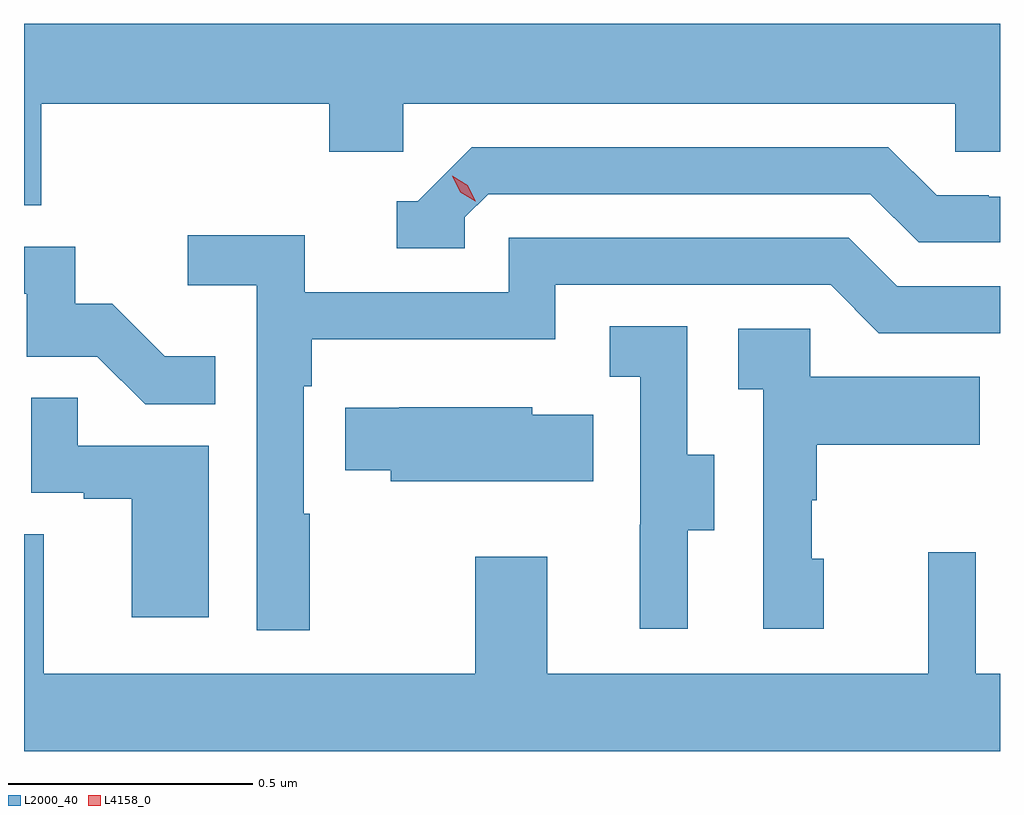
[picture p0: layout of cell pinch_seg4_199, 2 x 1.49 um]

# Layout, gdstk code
import gdstk
lib = gdstk.Library(unit=1e-6, precision=1e-09)
def P(c, l, *ps):  # polygons
    for p in ps: c.add(gdstk.Polygon(p, *l))
L2000_40 = (2000, 40)
L4158_0 = (4158, 0)

pinch_seg4_199 = lib.new_cell('pinch_seg4_199')
P(pinch_seg4_199, L2000_40, [(957.698,818.132),(958.289,818.132),(958.289,818.034),(958.44,818.034),(958.44,818.132),(959.571,818.132),(959.571,818.034),(959.663,818.034),(959.663,818.296),(957.663,818.296),(957.663,817.924),(957.698,817.924)],
  [(958.566,817.899),(958.614,817.947),(959.397,817.947),(959.496,817.848),(959.663,817.848),(959.663,817.941),(959.64,817.941),(959.64,817.944),(959.533,817.944),(959.434,818.043),(958.581,818.043),(958.47,817.932),(958.427,817.932),(958.427,817.836),(958.566,817.836)],
  [(958.249,817.292),(958.236,817.292),(958.236,817.553),(958.253,817.553),(958.253,817.649),(958.752,817.649),(958.752,817.761),(959.316,817.761),(959.415,817.662),(959.663,817.662),(959.663,817.758),(959.452,817.758),(959.353,817.857),(958.656,817.857),(958.656,817.746),(958.238,817.746),(958.238,817.862),(957.999,817.862),(957.999,817.76),(958.14,817.76),(958.14,817.053),(958.249,817.053)],
  [(958.055,817.615),(957.951,817.615),(957.844,817.722),(957.768,817.722),(957.768,817.839),(957.663,817.839),(957.663,817.743),(957.669,817.743),(957.669,817.614),(957.813,817.614),(957.911,817.516),(958.055,817.516)],
  [(959.023,817.258),(959.077,817.258),(959.077,817.413),(959.022,817.413),(959.022,817.676),(958.863,817.676),(958.863,817.573),(958.926,817.573),(958.926,817.269),(958.925,817.269),(958.925,817.056),(959.023,817.056)],
  [(959.302,817.2),(959.277,817.2),(959.277,817.319),(959.287,817.319),(959.287,817.433),(959.621,817.433),(959.621,817.573),(959.274,817.573),(959.274,817.671),(959.127,817.671),(959.127,817.547),(959.178,817.547),(959.178,817.056),(959.302,817.056)],
  [(958.042,817.431),(957.773,817.431),(957.773,817.529),(957.678,817.529),(957.678,817.335),(957.785,817.335),(957.785,817.323),(957.884,817.323),(957.884,817.08),(958.042,817.08)],
  [(958.829,817.495),(958.704,817.495),(958.704,817.51),(958.432,817.51),(958.432,817.509),(958.321,817.509),(958.321,817.381),(958.415,817.381),(958.415,817.358),(958.829,817.358)],
  [(959.663,816.964),(959.613,816.964),(959.613,817.213),(959.516,817.213),(959.516,816.964),(958.735,816.964),(958.735,817.204),(958.588,817.204),(958.588,816.964),(957.703,816.964),(957.703,817.25),(957.663,817.25),(957.663,816.805),(959.663,816.805)])
P(pinch_seg4_199, L4158_0, [(958.588,817.932),(958.557,817.951),(958.541,817.984),(958.541,817.984),(958.541,817.984),(958.572,817.965),(958.589,817.932),(958.589,817.932)])

lib.write_gds('pinch_seg4_199.gds')
